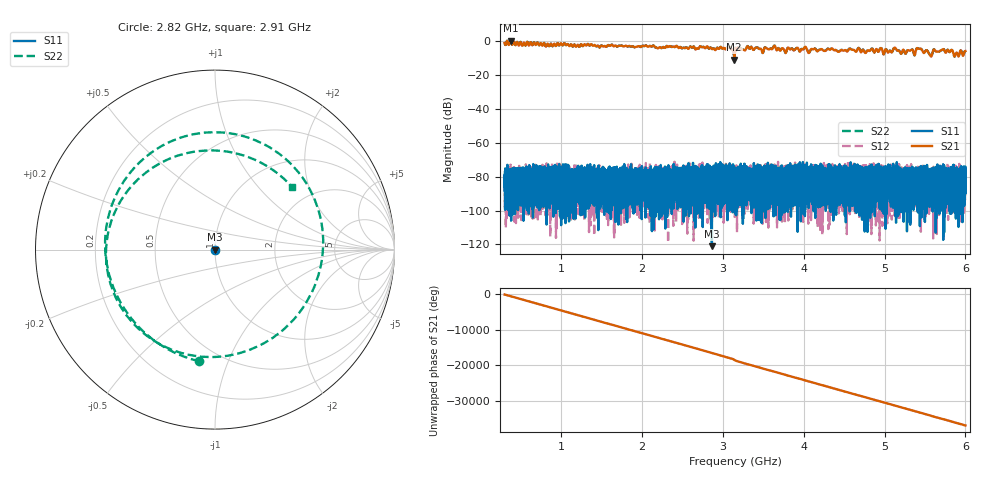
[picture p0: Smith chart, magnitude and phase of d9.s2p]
!Agilent Technologies,N5230C,SG49000117,A.08.50.07
!Agilent N5230C: A.08.50.07
!Date: Monday, March 18, 2024 18:13:34
!Correction: S11(Off)
!S21(Off)
!S12(Off)
!S22(Off)
!S2P File: Measurements: S11, S21, S12, S22:
# Hz S  RI  R 50
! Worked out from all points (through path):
!   20001 points, 300 MHz to 6 GHz, reference 50 ohm
!   highest |S21| = 0.40 dB at 373 MHz (marker M1); lowest = -10.9 dB at 3.141 GHz (marker M2)
!   lowest |S11| = -121.0 dB at 2.864 GHz (marker M3), VSWR 1.00, Z = 50 + j6.32e-05 ohm
!   |S11| at or under -10 dB: start of sweep to end of sweep
!   |S22| runs from -10.9 to 0.4 dB; largest |S21 - S12| = 1
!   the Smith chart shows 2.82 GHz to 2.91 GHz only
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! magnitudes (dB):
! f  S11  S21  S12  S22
! 300 MHz  -83.1  -1.1  -88.5  -1.0
! 373 MHz  -84.4  0.4  -84.2  0.4
! 1.25 GHz  -82.1  -1.9  -78.8  -1.9
! 2.2 GHz  -86.6  -4.2  -86.4  -4.2
! 2.864 GHz  -121.0  -4.6  -90.2  -4.6
! 3.074 GHz  -88.7  -3.9  -84.5  -3.9
! 3.141 GHz  -82.1  -10.9  -79.8  -10.9
! 3.15 GHz  -97.5  -5.1  -84.6  -5.1
! 3.326 GHz  -88.1  -4.4  -83.2  -4.3
! 3.48 GHz  -74.6  -5.3  -84.1  -5.3
! 3.629 GHz  -80.6  -3.1  -78.8  -3.0
! 3.769 GHz  -80.5  -6.4  -78.4  -6.4
! 4.1 GHz  -86.2  -4.6  -80.4  -4.5
! 5.05 GHz  -77.5  -6.5  -87.1  -6.4
! 5.13 GHz  -83.2  -3.8  -91.6  -3.8
! 5.19 GHz  -80.3  -6.2  -80.7  -6.2
! 5.364 GHz  -91.9  -7.5  -76.1  -7.5
! 5.423 GHz  -84.3  -4.5  -83.8  -4.5
! 5.566 GHz  -79.9  -8.5  -83.7  -8.5
! 5.714 GHz  -83.9  -5.0  -75.8  -5.1
! 5.889 GHz  -85.4  -6.9  -95.0  -6.9
! 6 GHz  -83.2  -5.8  -85.2  -5.9
